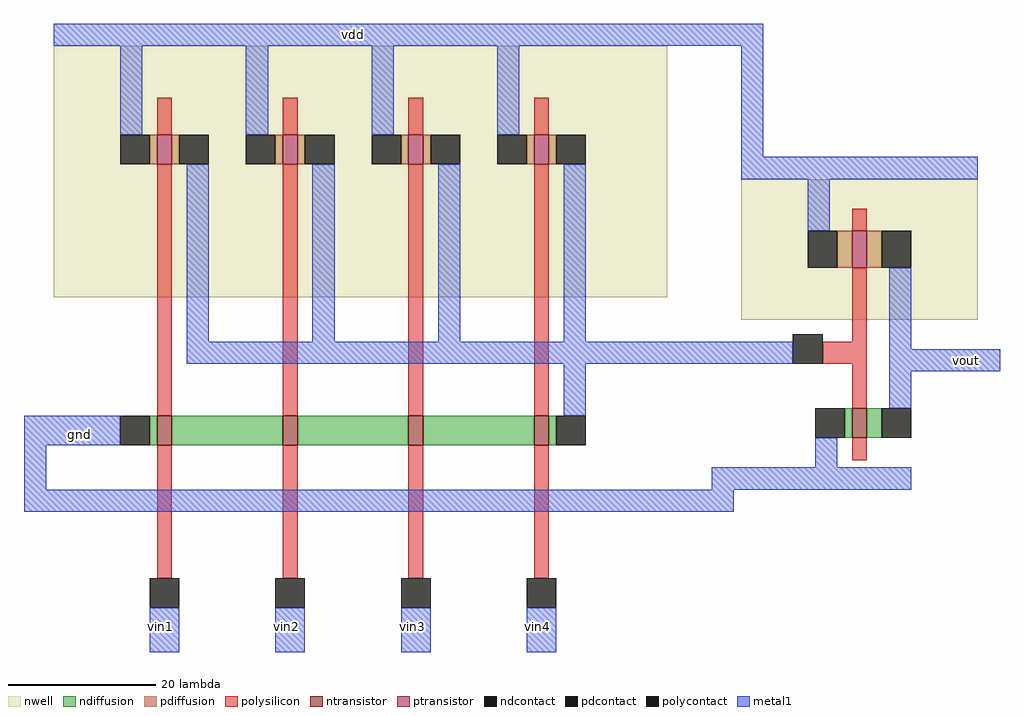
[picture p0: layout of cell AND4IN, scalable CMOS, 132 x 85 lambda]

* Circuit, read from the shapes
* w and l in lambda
.subckt AND4IN gnd vdd vin1 vin2 vin3 vin4 vout
M1 n1 vin1 gnd VSUBS nfet w=4 l=2
M2 n2 vin2 n1 VSUBS nfet w=4 l=2
M3 n3 vin3 n2 VSUBS nfet w=4 l=2
M4 NOT_0/in vin4 n3 VSUBS nfet w=4 l=2
M5 vout NOT_0/in gnd VSUBS nfet w=4 l=2
M6 NOT_0/in vin1 vdd n4 pfet w=4 l=2
M7 NOT_0/in vin2 vdd n4 pfet w=4 l=2
M8 NOT_0/in vin3 vdd n4 pfet w=4 l=2
M9 NOT_0/in vin4 vdd n4 pfet w=4 l=2
M10 vout NOT_0/in vdd n5 pfet w=5 l=2
.ends

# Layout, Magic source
magic
tech scmos
<< nwell >>
rect -14 -10 69 24
<< ntransistor >>
rect 0 -30 2 -26
rect 17 -30 19 -26
rect 34 -30 36 -26
rect 51 -30 53 -26
<< ptransistor >>
rect 0 8 2 12
rect 17 8 19 12
rect 34 8 36 12
rect 51 8 53 12
<< ndiffusion >>
rect -1 -30 0 -26
rect 2 -30 17 -26
rect 19 -30 34 -26
rect 36 -30 51 -26
rect 53 -30 54 -26
<< pdiffusion >>
rect -1 8 0 12
rect 2 8 3 12
rect 16 8 17 12
rect 19 8 20 12
rect 33 8 34 12
rect 36 8 37 12
rect 50 8 51 12
rect 53 8 54 12
<< ndcontact >>
rect -5 -30 -1 -26
rect 54 -30 58 -26
<< pdcontact >>
rect -5 8 -1 12
rect 3 8 7 12
rect 12 8 16 12
rect 20 8 24 12
rect 29 8 33 12
rect 37 8 41 12
rect 46 8 50 12
rect 54 8 58 12
<< polysilicon >>
rect 0 12 2 17
rect 17 12 19 17
rect 34 12 36 17
rect 51 12 53 17
rect 0 -26 2 8
rect 17 -26 19 8
rect 34 -26 36 8
rect 51 -26 53 8
rect 0 -48 2 -30
rect 17 -48 19 -30
rect 34 -48 36 -30
rect 51 -48 53 -30
<< polycontact >>
rect -1 -52 3 -48
rect 16 -52 20 -48
rect 33 -52 37 -48
rect 50 -52 54 -48
<< metal1 >>
rect -14 24 82 27
rect -5 12 -2 24
rect 12 12 15 24
rect 29 12 32 24
rect 46 12 49 24
rect 4 -16 7 8
rect 21 -16 24 8
rect 38 -16 41 8
rect 55 -16 58 8
rect 79 6 82 24
rect 4 -19 84 -16
rect 55 -26 58 -19
rect 105 -20 114 -17
rect -18 -30 -5 -26
rect -18 -36 -15 -30
rect 75 -36 89 -33
rect -18 -39 78 -36
rect -1 -58 3 -52
rect 16 -58 20 -52
rect 33 -58 37 -52
rect 50 -58 54 -52
use NOT  NOT_0
transform 1 0 86 0 1 -10
box -7 -26 25 19
<< labels >>
rlabel metal1 26 25 27 26 5 vdd
rlabel metal1 -11 -29 -10 -28 1 gnd
rlabel metal1 109 -19 110 -18 7 vout
rlabel metal1 0 -55 1 -54 1 vin1
rlabel metal1 17 -55 18 -54 1 vin2
rlabel metal1 34 -55 35 -54 1 vin3
rlabel metal1 51 -55 52 -54 1 vin4
<< end >>

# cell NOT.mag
magic
tech scmos
<< nwell >>
rect -7 -3 25 16
<< ntransistor >>
rect 8 -19 10 -15
<< ptransistor >>
rect 8 4 10 9
<< ndiffusion >>
rect 7 -19 8 -15
rect 10 -19 12 -15
<< pdiffusion >>
rect 6 4 8 9
rect 10 4 12 9
<< ndcontact >>
rect 3 -19 7 -15
rect 12 -19 16 -15
<< pdcontact >>
rect 2 4 6 9
rect 12 4 16 9
<< polysilicon >>
rect 8 9 10 12
rect 8 -6 10 4
rect 4 -9 10 -6
rect 8 -15 10 -9
rect 8 -22 10 -19
<< polycontact >>
rect 0 -9 4 -5
<< metal1 >>
rect -7 16 25 19
rect 2 9 5 16
rect -3 -9 0 -6
rect 13 -7 16 4
rect 13 -10 20 -7
rect 13 -15 16 -10
rect 3 -23 6 -19
rect 2 -26 16 -23
<< labels >>
rlabel metal1 6 17 9 18 5 vdd
rlabel metal1 -3 -8 -2 -7 3 in
rlabel metal1 18 -9 19 -8 1 out
rlabel metal1 9 -25 10 -24 1 gnd
<< end >>
